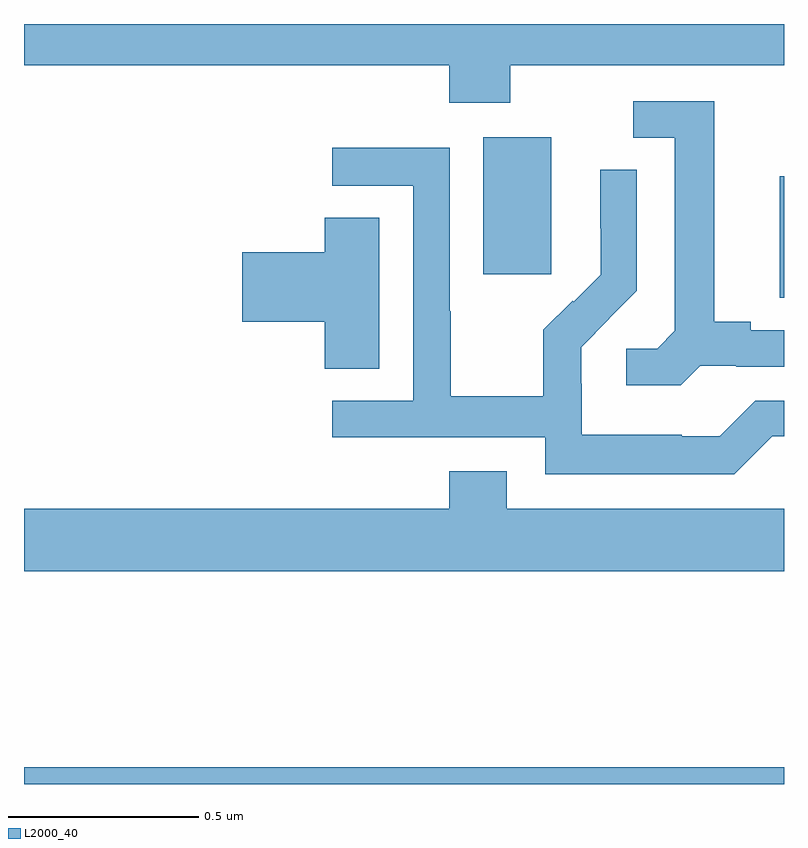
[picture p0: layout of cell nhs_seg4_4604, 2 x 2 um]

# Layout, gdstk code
import gdstk
lib = gdstk.Library(unit=1e-6, precision=1e-09)
def R(c, l, rs):  # rectangles x0, y0, x1, y1
    for r in rs: c.add(gdstk.rectangle(r[:2], r[2:], *l))
def P(c, l, *ps):  # polygons
    for p in ps: c.add(gdstk.Polygon(p, *l))
L2000_40 = (2000, 40)

nhs_seg4_4604 = lib.new_cell('nhs_seg4_4604')
R(nhs_seg4_4604, L2000_40, [(167,822.9,169,822.944), (168.989,824.179,169,824.499), (168.209,824.241,168.388,824.602)])
P(nhs_seg4_4604, L2000_40, [(168.279,824.792),(169,824.792),(169,824.9),(167,824.9),(167,824.792),(168.119,824.792),(168.119,824.693),(168.279,824.693)],
  [(168.78,824.001),(168.874,824.001),(168.874,823.998),(169,823.998),(169,824.094),(168.913,824.094),(168.913,824.117),(168.817,824.117),(168.817,824.697),(168.603,824.697),(168.603,824.601),(168.713,824.601),(168.713,824.093),(168.666,824.046),(168.585,824.046),(168.585,823.949),(168.728,823.949)],
  [(168.969,823.815),(169,823.815),(169,823.908),(168.924,823.908),(168.831,823.815),(168.731,823.815),(168.731,823.819),(168.468,823.819),(168.468,823.953),(168.466,823.953),(168.466,824.05),(168.54,824.124),(168.539,824.125),(168.612,824.198),(168.612,824.516),(168.516,824.516),(168.516,824.362),(168.518,824.362),(168.518,824.24),(168.447,824.169),(168.444,824.172),(168.367,824.095),(168.367,823.921),(168.123,823.921),(168.123,824.144),(168.12,824.144),(168.12,824.574),(167.811,824.574),(167.811,824.475),(168.024,824.475),(168.024,823.908),(167.811,823.908),(167.811,823.812),(168.372,823.812),(168.372,823.715),(168.869,823.715)],
  [(167.935,824.39),(167.792,824.39),(167.792,824.3),(167.574,824.3),(167.574,824.117),(167.792,824.117),(167.792,823.993),(167.935,823.993)],
  [(169,823.624),(168.271,823.624),(168.271,823.723),(168.119,823.723),(168.119,823.624),(167,823.624),(167,823.46),(169,823.46)])

lib.write_gds('nhs_seg4_4604.gds')
